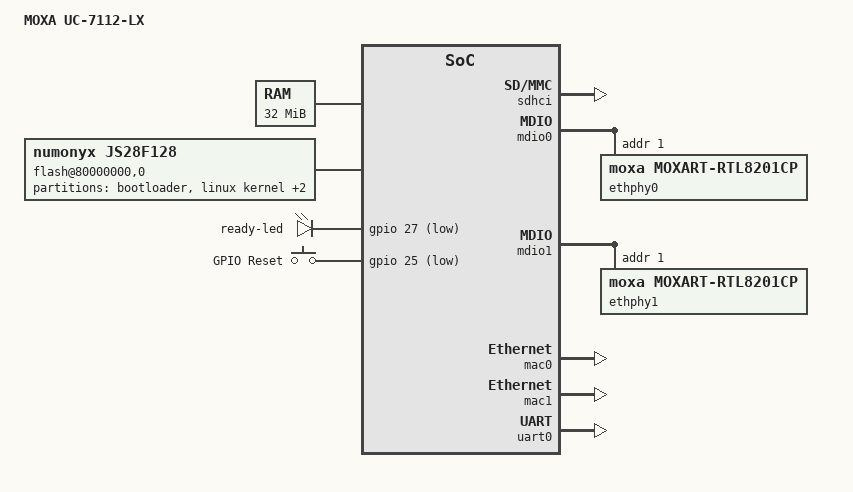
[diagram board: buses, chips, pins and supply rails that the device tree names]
/* moxart-uc7112lx.dts - Device Tree file for MOXA UC-7112-LX
 *
 * Copyright (C) 2013 Jonas Jensen <jonas.jensen@gmail.com>
 *
 * Licensed under GPLv2 or later.
 */

/dts-v1/;
/include/ "moxart.dtsi"

/ {
	model = "MOXA UC-7112-LX";
	compatible = "moxa,moxart-uc-7112-lx", "moxa,moxart";

	memory {
		device_type = "memory";
		reg = <0x0 0x2000000>;
	};

	flash@80000000,0 {
		compatible = "numonyx,js28f128", "cfi-flash";
		reg = <0x80000000 0x1000000>;
		bank-width = <2>;
		#address-cells = <1>;
		#size-cells = <1>;
		partition@0 {
			label = "bootloader";
			reg = <0x0 0x40000>;
		};
		partition@40000 {
			label = "linux kernel";
			reg = <0x40000 0x1C0000>;
		};
		partition@200000 {
			label = "root filesystem";
			reg = <0x200000 0x800000>;
		};
		partition@a00000 {
			label = "user filesystem";
			reg = <0xa00000 0x600000>;
		};
	};

	leds {
		compatible = "gpio-leds";
		user-led {
			label = "ready-led";
			gpios = <&gpio 27 0x1>;
			default-state = "on";
			linux,default-trigger = "default-on";
		};
	};

	gpio_keys_polled {
		compatible = "gpio-keys-polled";
		#address-cells = <1>;
		#size-cells = <0>;
		poll-interval = <500>;
		button@25 {
			label = "GPIO Reset";
			linux,code = <116>;
			gpios = <&gpio 25 1>;
		};
	};

	chosen {
		bootargs = "console=ttyS0,115200n8 earlyprintk root=/dev/mmcblk0p1 rw rootwait";
	};
};

&clk_pll {
	clocks = <&ref12>;
};

&sdhci {
	status = "okay";
};

&mdio0 {
	status = "okay";

	ethphy0: ethernet-phy@1 {
		device_type = "ethernet-phy";
		compatible = "moxa,moxart-rtl8201cp", "ethernet-phy-ieee802.3-c22";
		reg = <1>;
	};
};

&mdio1 {
	status = "okay";

	ethphy1: ethernet-phy@1 {
		device_type = "ethernet-phy";
		compatible = "moxa,moxart-rtl8201cp", "ethernet-phy-ieee802.3-c22";
		reg = <1>;
	};
};

&mac0 {
	status = "okay";
};

&mac1 {
	status = "okay";
};

&uart0 {
	status = "okay";
};
